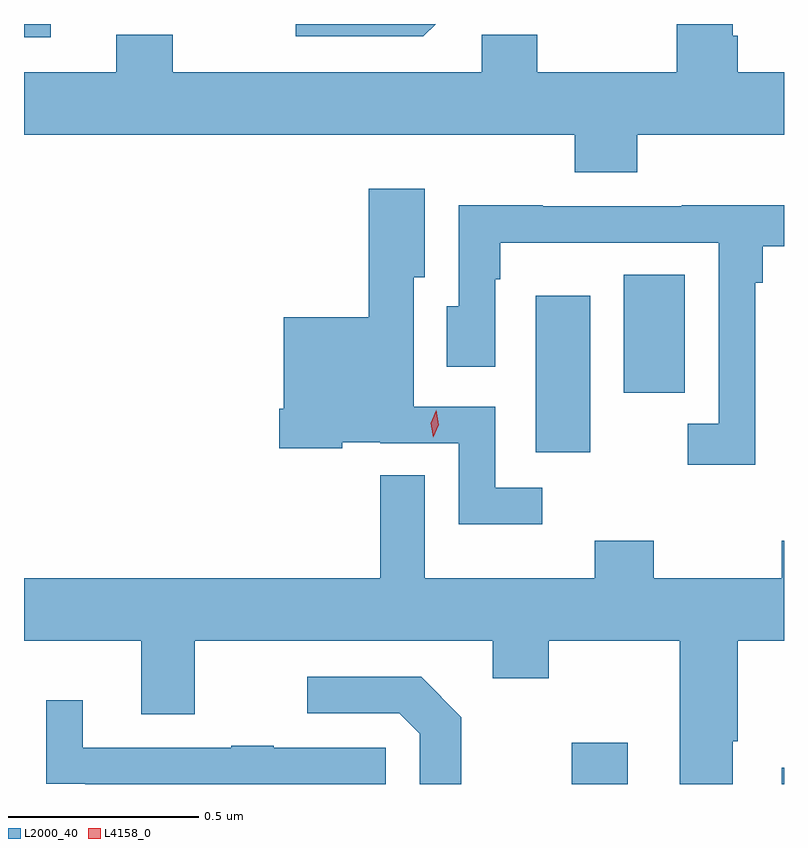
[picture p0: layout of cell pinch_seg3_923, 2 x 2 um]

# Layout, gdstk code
import gdstk
lib = gdstk.Library(unit=1e-6, precision=1e-09)
def R(c, l, rs):  # rectangles x0, y0, x1, y1
    for r in rs: c.add(gdstk.rectangle(r[:2], r[2:], *l))
def P(c, l, *ps):  # polygons
    for p in ps: c.add(gdstk.Polygon(p, *l))
L2000_40 = (2000, 40)
L4158_0 = (4158, 0)

pinch_seg3_923 = lib.new_cell('pinch_seg3_923')
R(pinch_seg3_923, L2000_40, [(790.365,673.899,790.513,674.008), (790.918,673.899,790.924,673.942), (790.271,674.772,790.414,675.184), (790.502,674.928,790.663,675.239), (788.924,675.864,788.995,675.899)])
P(pinch_seg3_923, L2000_40, [(790.538,675.608),(790.924,675.608),(790.924,675.772),(790.802,675.772),(790.802,675.868),(790.789,675.868),(790.789,675.899),(790.642,675.899),(790.642,675.772),(790.275,675.772),(790.275,675.871),(790.128,675.871),(790.128,675.772),(789.315,675.772),(789.315,675.871),(789.167,675.871),(789.167,675.772),(788.924,675.772),(788.924,675.608),(790.373,675.608),(790.373,675.509),(790.538,675.509)],
  [(790.007,675.899),(789.639,675.899),(789.639,675.867),(789.975,675.867)],
  [(790.288,674.679),(790.164,674.679),(790.164,674.892),(789.949,674.892),(789.949,675.233),(789.979,675.233),(789.979,675.466),(789.831,675.466),(789.831,675.127),(789.608,675.127),(789.608,674.887),(789.596,674.887),(789.596,674.783),(789.762,674.783),(789.762,674.798),(789.862,674.798),(789.862,674.796),(790.068,674.796),(790.068,674.582),(790.288,674.582)],
  [(790.848,675.218),(790.868,675.218),(790.868,675.314),(790.924,675.314),(790.924,675.422),(790.655,675.422),(790.655,675.42),(790.289,675.42),(790.289,675.422),(790.068,675.422),(790.068,675.156),(790.037,675.156),(790.037,674.997),(790.164,674.997),(790.164,675.227),(790.177,675.227),(790.177,675.323),(790.389,675.323),(790.389,675.324),(790.752,675.324),(790.752,674.847),(790.671,674.847),(790.671,674.739),(790.848,674.739)],
  [(790.789,674.011),(790.802,674.011),(790.802,674.276),(790.924,674.276),(790.924,674.539),(790.918,674.539),(790.918,674.44),(790.581,674.44),(790.581,674.539),(790.426,674.539),(790.426,674.44),(789.979,674.44),(789.979,674.711),(789.861,674.711),(789.861,674.44),(788.924,674.44),(788.924,674.276),(789.233,674.276),(789.233,674.082),(789.373,674.082),(789.373,674.276),(790.157,674.276),(790.157,674.177),(790.305,674.177),(790.305,674.276),(790.649,674.276),(790.649,673.899),(790.789,673.899)],
  [(790.075,674.075),(789.969,674.181),(789.669,674.181),(789.669,674.085),(789.912,674.085),(789.966,674.031),(789.966,673.899),(790.075,673.899)],
  [(789.876,673.995),(789.581,673.995),(789.581,674),(789.469,674),(789.469,673.995),(789.079,673.995),(789.079,674.119),(788.983,674.119),(788.983,673.9),(789.085,673.9),(789.085,673.899),(789.876,673.899)])
P(pinch_seg3_923, L4158_0, [(790.001,674.811),(790.001,674.811),(789.995,674.848),(790.009,674.882),(790.009,674.882),(790.009,674.882),(790.015,674.845),(790.001,674.811)])

lib.write_gds('pinch_seg3_923.gds')
